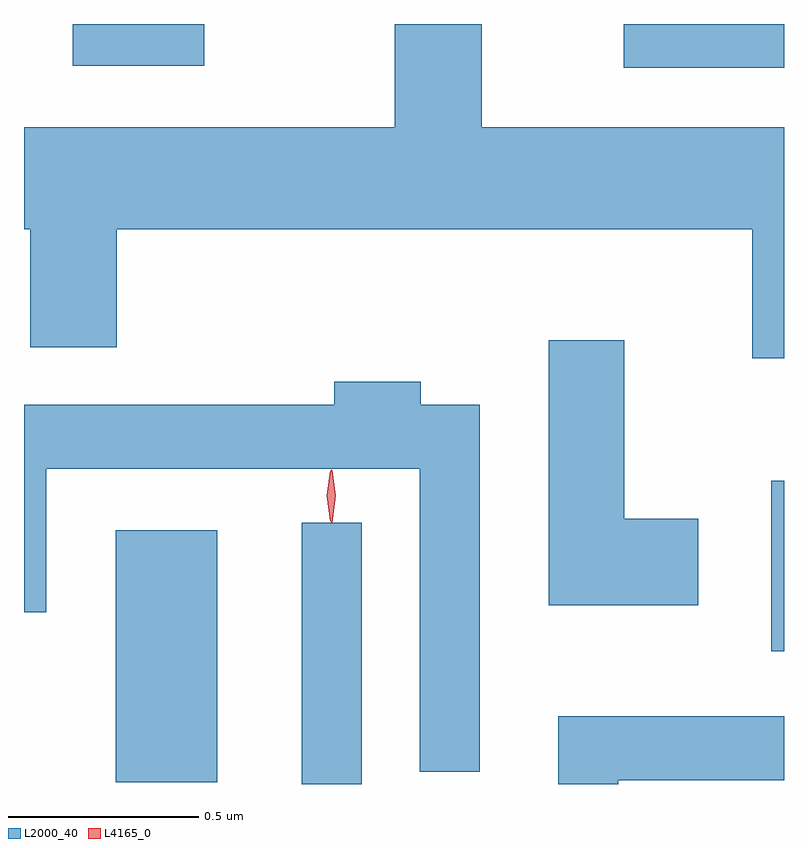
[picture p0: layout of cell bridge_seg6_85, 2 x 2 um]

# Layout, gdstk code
import gdstk
lib = gdstk.Library(unit=1e-6, precision=1e-09)
def R(c, l, rs):  # rectangles x0, y0, x1, y1
    for r in rs: c.add(gdstk.rectangle(r[:2], r[2:], *l))
def P(c, l, *ps):  # polygons
    for p in ps: c.add(gdstk.Polygon(p, *l))
L2000_40 = (2000, 40)
L4165_0 = (4165, 0)

bridge_seg6_85 = lib.new_cell('bridge_seg6_85')
R(bridge_seg6_85, L2000_40, [(1288.756,1652.916,1288.914,1653.603), (1288.266,1652.921,1288.534,1653.584), (1289.991,1653.266,1290.025,1653.714), (1289.603,1654.801,1290.025,1654.916), (1288.153,1654.806,1288.499,1654.916)])
P(bridge_seg6_85, L2000_40, [(1290.025,1654.644),(1289.229,1654.644),(1289.229,1654.916),(1289.001,1654.916),(1289.001,1654.644),(1288.025,1654.644),(1288.025,1654.376),(1288.041,1654.376),(1288.041,1654.066),(1288.269,1654.066),(1288.269,1654.376),(1289.941,1654.376),(1289.941,1654.036),(1290.025,1654.036)],
  [(1289.799,1653.614),(1289.604,1653.614),(1289.604,1654.084),(1289.406,1654.084),(1289.406,1653.386),(1289.799,1653.386)],
  [(1289.224,1653.914),(1289.069,1653.914),(1289.069,1653.974),(1288.841,1653.974),(1288.841,1653.914),(1288.025,1653.914),(1288.025,1653.368),(1288.084,1653.368),(1288.084,1653.746),(1289.066,1653.746),(1289.066,1652.948),(1289.224,1652.948)],
  [(1289.589,1652.926),(1290.025,1652.926),(1290.025,1653.094),(1289.431,1653.094),(1289.431,1652.916),(1289.589,1652.916)])
P(bridge_seg6_85, L4165_0, [(1288.831,1653.607),(1288.822,1653.674),(1288.831,1653.74),(1288.832,1653.74),(1288.832,1653.74),(1288.842,1653.674),(1288.832,1653.607),(1288.832,1653.607)],
  [(1288.834,1653.604),(1288.825,1653.674),(1288.834,1653.742),(1288.835,1653.743),(1288.836,1653.742),(1288.845,1653.674),(1288.836,1653.604),(1288.835,1653.604)])

lib.write_gds('bridge_seg6_85.gds')
